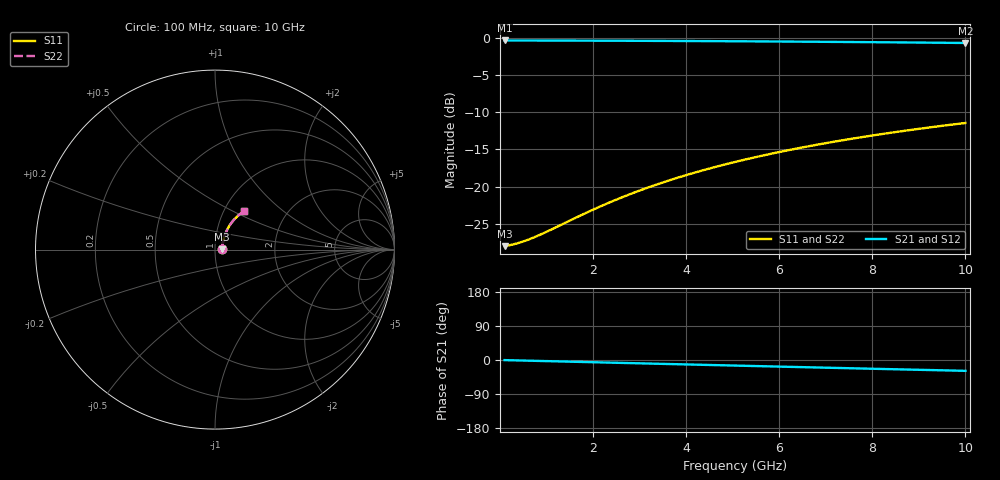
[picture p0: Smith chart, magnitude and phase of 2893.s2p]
# Hz S RI R 50.00
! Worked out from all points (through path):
!   100 points, 100 MHz to 10 GHz, reference 50 ohm
!   highest |S21| = -0.35 dB at 100 MHz (marker M1); lowest = -0.7 dB at 10 GHz (marker M2)
!   group delay of S21, straight-line fit = 7.96 ps
!   lowest |S11| = -28.0 dB at 100 MHz (marker M3), VSWR 1.08, Z = 54.1 + j0.286 ohm
!   |S11| at or under -10 dB: start of sweep to end of sweep
!   |S22| runs from -28.0 to -11.4 dB; largest |S21 - S12| = 0
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1e8  0.0397 0.00264  0.9603 -0.00492  0.9603 -0.00492  0.0397 0.00264
3e8  0.0403 0.0079  0.9597 -0.0147  0.9597 -0.0147  0.0403 0.0079
4e8  0.0405 0.0105  0.9594 -0.0197  0.9594 -0.0197  0.0405 0.0105
5e8  0.0408 0.0131  0.9592 -0.0246  0.9592 -0.0246  0.0408 0.0131
7e8  0.0413 0.0184  0.9586 -0.0344  0.9586 -0.0344  0.0413 0.0184
1e9  0.0422 0.0262  0.9575 -0.0491  0.9575 -0.0491  0.0422 0.0262
1.8e9  0.0457 0.0469  0.9534 -0.088  0.9534 -0.088  0.0457 0.0469
2.2e9  0.0481 0.0571  0.9506 -0.1074  0.9506 -0.1074  0.0481 0.0571
2.6e9  0.0508 0.0672  0.9474 -0.1266  0.9474 -0.1266  0.0508 0.0672
3e9  0.0539 0.0771  0.9436 -0.1457  0.9436 -0.1457  0.0539 0.0771
3.4e9  0.0574 0.0869  0.9394 -0.1646  0.9394 -0.1646  0.0574 0.0869
3.8e9  0.0613 0.0966  0.9348 -0.1834  0.9348 -0.1834  0.0613 0.0966
4.2e9  0.0656 0.106  0.9297 -0.202  0.9297 -0.202  0.0656 0.106
4.6e9  0.0702 0.1152  0.9241 -0.2204  0.9241 -0.2204  0.0702 0.1152
5.1e9  0.0765 0.1265  0.9165 -0.243  0.9165 -0.243  0.0765 0.1265
5.5e9  0.0819 0.1352  0.9099 -0.2609  0.9099 -0.2609  0.0819 0.1352
5.9e9  0.0876 0.1437  0.903 -0.2785  0.903 -0.2785  0.0876 0.1437
6.7e9  0.1 0.1598  0.8879 -0.313  0.8879 -0.313  0.1 0.1598
7.5e9  0.1135 0.1747  0.8712 -0.3463  0.8712 -0.3463  0.1135 0.1747
8.4e9  0.13 0.1901  0.8509 -0.3823  0.8509 -0.3823  0.13 0.1901
9.2e9  0.1455 0.2024  0.8315 -0.4129  0.8315 -0.4129  0.1455 0.2024
1e10  0.1619 0.2133  0.8109 -0.4422  0.8109 -0.4422  0.1619 0.2133
